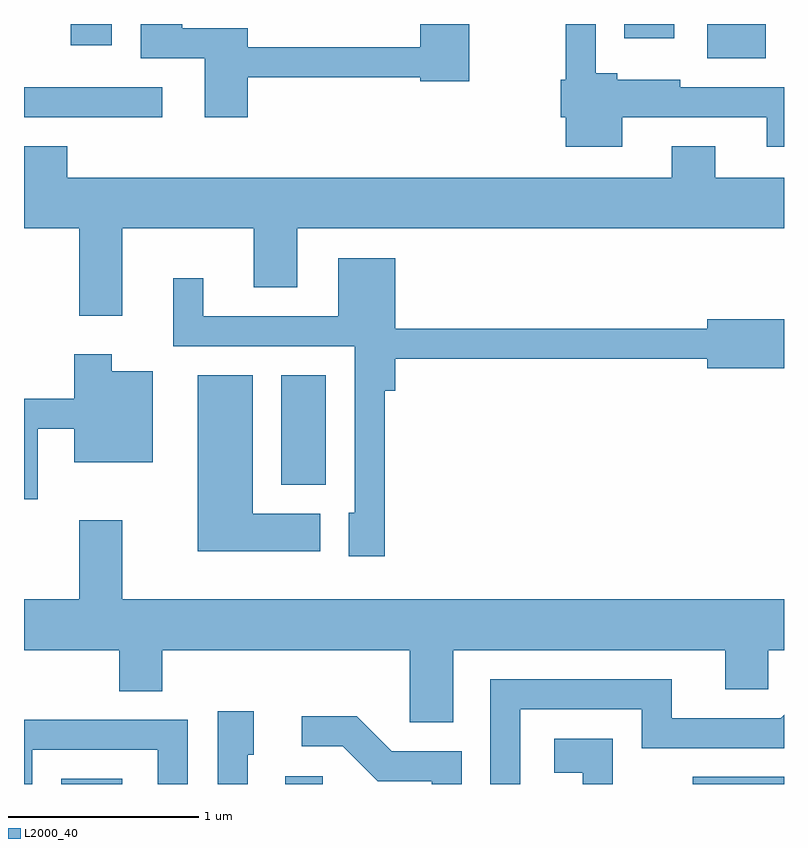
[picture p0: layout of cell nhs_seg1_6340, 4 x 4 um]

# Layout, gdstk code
import gdstk
lib = gdstk.Library(unit=1e-6, precision=1e-09)
def R(c, l, rs):  # rectangles x0, y0, x1, y1
    for r in rs: c.add(gdstk.rectangle(r[:2], r[2:], *l))
def P(c, l, *ps):  # polygons
    for p in ps: c.add(gdstk.Polygon(p, *l))
L2000_40 = (2000, 40)

nhs_seg1_6340 = lib.new_cell('nhs_seg1_6340')
R(nhs_seg1_6340, L2000_40, [(375.806,947.712,376.129,947.739), (376.986,947.712,377.184,947.754), (379.131,947.712,379.611,947.749), (376.966,949.286,377.199,949.864), (375.611,951.221,376.338,951.379), (379.206,951.531,379.514,951.712), (375.856,951.601,376.074,951.712), (378.771,951.636,379.034,951.712)])
P(nhs_seg1_6340, L2000_40, [(378.759,951.221),(379.521,951.221),(379.521,951.066),(379.611,951.066),(379.611,951.379),(379.064,951.379),(379.064,951.419),(378.734,951.419),(378.734,951.454),(378.619,951.454),(378.619,951.712),(378.461,951.712),(378.461,951.419),(378.436,951.419),(378.436,951.221),(378.461,951.221),(378.461,951.066),(378.759,951.066)],
  [(376.789,951.431),(377.696,951.431),(377.696,951.411),(377.954,951.411),(377.954,951.712),(377.696,951.712),(377.696,951.589),(376.789,951.589),(376.789,951.689),(376.444,951.689),(376.444,951.712),(376.226,951.712),(376.226,951.531),(376.561,951.531),(376.561,951.221),(376.789,951.221)],
  [(376.129,950.636),(376.821,950.636),(376.821,950.326),(377.049,950.326),(377.049,950.636),(379.611,950.636),(379.611,950.904),(379.249,950.904),(379.249,951.069),(379.021,951.069),(379.021,950.904),(375.839,950.904),(375.839,951.069),(375.611,951.069),(375.611,950.636),(375.901,950.636),(375.901,950.176),(376.129,950.176)],
  [(377.509,949.781),(377.564,949.781),(377.564,949.951),(379.206,949.951),(379.206,949.901),(379.611,949.901),(379.611,950.159),(379.206,950.159),(379.206,950.109),(377.564,950.109),(377.564,950.479),(377.266,950.479),(377.266,950.174),(376.554,950.174),(376.554,950.373),(376.396,950.373),(376.396,950.016),(377.351,950.016),(377.351,949.139),(377.321,949.139),(377.321,948.911),(377.509,948.911)],
  [(375.684,949.581),(375.876,949.581),(375.876,949.406),(376.289,949.406),(376.289,949.884),(376.074,949.884),(376.074,949.974),(375.876,949.974),(375.876,949.739),(375.611,949.739),(375.611,949.211),(375.684,949.211)],
  [(377.169,949.134),(376.814,949.134),(376.814,949.864),(376.526,949.864),(376.526,948.936),(377.169,948.936)],
  [(377.869,948.416),(379.301,948.416),(379.301,948.211),(379.529,948.211),(379.529,948.416),(379.611,948.416),(379.611,948.684),(376.129,948.684),(376.129,949.099),(375.901,949.099),(375.901,948.684),(375.611,948.684),(375.611,948.416),(376.111,948.416),(376.111,948.201),(376.339,948.201),(376.339,948.416),(377.641,948.416),(377.641,948.036),(377.869,948.036)],
  [(378.224,948.106),(378.861,948.106),(378.861,947.901),(379.611,947.901),(379.611,948.076),(379.594,948.059),(379.019,948.059),(379.019,948.264),(378.066,948.264),(378.066,947.712),(378.224,947.712)],
  [(376.789,947.866),(376.819,947.866),(376.819,948.094),(376.631,948.094),(376.631,947.712),(376.789,947.712)],
  [(377.914,947.884),(377.547,947.884),(377.362,948.069),(377.073,948.069),(377.073,947.911),(377.289,947.911),(377.474,947.726),(377.756,947.726),(377.756,947.712),(377.914,947.712)],
  [(375.654,947.891),(376.316,947.891),(376.316,947.712),(376.474,947.712),(376.474,948.049),(375.611,948.049),(375.611,947.712),(375.654,947.712)],
  [(378.709,947.949),(378.401,947.949),(378.401,947.771),(378.551,947.771),(378.551,947.712),(378.709,947.712)])

lib.write_gds('nhs_seg1_6340.gds')
